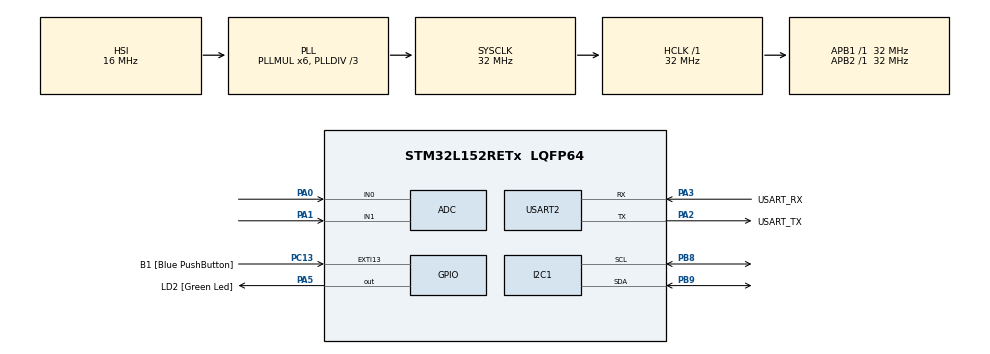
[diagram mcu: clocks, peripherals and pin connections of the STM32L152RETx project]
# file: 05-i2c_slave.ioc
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ADC.Channel-0\#ChannelRegularConversion=ADC_CHANNEL_0
ADC.NbrOfConversionFlag=1
ADC.Rank-0\#ChannelRegularConversion=1
ADC.SamplingTime-0\#ChannelRegularConversion=ADC_SAMPLETIME_4CYCLES
I2C1.OwnAddress=0x08
Mcu.Family=STM32L1
Mcu.Name=STM32L152RETx
Mcu.Package=LQFP64
NVIC.I2C1_ER_IRQn=true\:0\:0\:false\:false\:true\:true\:true\:true
NVIC.I2C1_EV_IRQn=true\:0\:0\:false\:false\:true\:true\:true\:true
NVIC.PriorityGroup=NVIC_PRIORITYGROUP_0
PA0-WKUP1.Mode=IN0
PA0-WKUP1.Signal=ADC_IN0
PA1.Mode=IN1
PA1.Signal=ADC_IN1
PA13.GPIO_Label=TMS
PA13.Mode=Serial_Wire
PA13.Signal=SYS_JTMS-SWDIO
PA14.GPIO_Label=TCK
PA14.Mode=Serial_Wire
PA14.Signal=SYS_JTCK-SWCLK
PA2.GPIO_Label=USART_TX
PA2.Mode=Asynchronous
PA2.Signal=USART2_TX
PA3.GPIO_Label=USART_RX
PA3.Mode=Asynchronous
PA3.Signal=USART2_RX
PA5.GPIO_Label=LD2 [Green Led]
PA5.Signal=GPIO_Output
PB3.GPIO_Label=SWO
PB3.Signal=SYS_JTDO-TRACESWO
PB8.Mode=I2C
PB8.Signal=I2C1_SCL
PB9.Mode=I2C
PB9.Signal=I2C1_SDA
PC13-WKUP2.GPIO_Label=B1 [Blue PushButton]
PC13-WKUP2.Signal=GPXTI13
PC14-OSC32_IN.Mode=LSE-External-Oscillator
PC14-OSC32_IN.Signal=RCC_OSC32_IN
PC15-OSC32_OUT.Mode=LSE-External-Oscillator
PC15-OSC32_OUT.Signal=RCC_OSC32_OUT
PH0-OSC_IN.Mode=HSE-External-Clock-Source
PH0-OSC_IN.Signal=RCC_OSC_IN
PH1-OSC_OUT.Signal=RCC_OSC_OUT
ProjectManager.HeapSize=0x200
ProjectManager.StackSize=0x400
ProjectManager.TargetToolchain=STM32CubeIDE
RCC.48MHZClocksFreq_Value=48000000
RCC.AHBFreq_Value=32000000
RCC.APB1Freq_Value=32000000
RCC.APB1TimFreq_Value=32000000
RCC.APB2Freq_Value=32000000
RCC.APB2TimFreq_Value=32000000
RCC.HCLKFreq_Value=32000000
RCC.HSE_VALUE=8000000
RCC.HSI_VALUE=16000000
RCC.MSI_VALUE=2097000
RCC.PLLDIV=RCC_PLL_DIV3
RCC.PLLMUL=RCC_PLL_MUL6
RCC.RTCClockSelectionVirtual=RCC_RTCCLKSOURCE_LSE
RCC.SYSCLKFreq_VALUE=32000000
RCC.SYSCLKSource=RCC_SYSCLKSOURCE_PLLCLK
RCC.USBOutput=48000000
RCC.VCOOutputFreq_Value=96000000
USART2.VirtualMode=VM_ASYNC
board=NUCLEO-L152RE

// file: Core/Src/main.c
/* USER CODE BEGIN Header */
/**
  ******************************************************************************
  * @file           : main.c
  * @brief          : Main program body
  ******************************************************************************
  * @attention
  *
  * Copyright (c) 2025 STMicroelectronics.
  * All rights reserved.
  *
  * This software is licensed under terms that can be found in the LICENSE file
  * in the root directory of this software component.
  * If no LICENSE file comes with this software, it is provided AS-IS.
  *
  ******************************************************************************
  */
/* USER CODE END Header */
#include "main.h"

/* USER CODE BEGIN PTD */
typedef struct
{
	uint8_t cmd;
	uint8_t result;
	uint16_t pot;
	uint16_t photo_r;

} analog_data_t;
/* USER CODE END PTD */

/* USER CODE BEGIN PD */
#define RESPONSE_SIZE sizeof(analog_data_t)
#define RxSIZE 6
/* USER CODE END PD */

ADC_HandleTypeDef hadc;

I2C_HandleTypeDef hi2c1;

UART_HandleTypeDef huart2;

/* USER CODE BEGIN PV */

uint8_t rxBuffer[RxSIZE];
uint8_t txBuffer[RxSIZE];
int count = 0;

uint8_t cmd = 0;
analog_data_t response;

/* USER CODE END PV */

void SystemClock_Config(void);
static void MX_GPIO_Init(void);
static void MX_USART2_UART_Init(void);
static void MX_I2C1_Init(void);
static void MX_ADC_Init(void);

/* USER CODE BEGIN 0 */

void HAL_I2C_ListenCpltCallback(I2C_HandleTypeDef *hi2c)
{
	HAL_I2C_EnableListen_IT(hi2c);
}

void HAL_I2C_AddrCallback(I2C_HandleTypeDef *hi2c, uint8_t TransferDirection, uint16_t AddrMatchCode)
{
	if(TransferDirection == I2C_DIRECTION_TRANSMIT)
	{
		HAL_I2C_Slave_Seq_Receive_IT(hi2c, &cmd, 1, I2C_FIRST_AND_LAST_FRAME);
	}
	else
	{
		HAL_I2C_Slave_Seq_Transmit_IT(hi2c, (uint8_t*)(&response), sizeof(response), I2C_FIRST_AND_LAST_FRAME);
	}
}

void HAL_I2C_SlaveRxCpltCallback(I2C_HandleTypeDef *hi2c)
{
	if(cmd == 01U)
	{
		response.result = 1;
	}
	else if(cmd == 02U)
	{
		response.result = 1;
		HAL_GPIO_WritePin(GPIOA, GPIO_PIN_5, GPIO_PIN_SET);
	}
	else if(cmd == 03U)
	{
		response.result = 1;
		HAL_GPIO_WritePin(GPIOA, GPIO_PIN_5, GPIO_PIN_RESET);
	}
}

void HAL_I2C_SlaveTxCpltCallback(I2C_HandleTypeDef *hi2c)
{

}

void HAL_I2C_ErrorCallback(I2C_HandleTypeDef *hi2c)
{
	HAL_I2C_EnableListen_IT(hi2c);
};

/* USER CODE END 0 */

int main(void)
{

  /* MCU Configuration--------------------------------------------------------*/

  /* Reset of all peripherals, Initializes the Flash interface and the Systick. */
  HAL_Init();

  /* Configure the system clock */
  SystemClock_Config();

  /* Initialize all configured peripherals */
  MX_GPIO_Init();
  MX_USART2_UART_Init();
  MX_I2C1_Init();
  MX_ADC_Init();

  /* Infinite loop */
  /* USER CODE BEGIN WHILE */

  if(HAL_I2C_EnableListen_IT(&hi2c1) != HAL_OK)
  {
	  Error_Handler();
  }

  while (1)
  {
    /* USER CODE END WHILE */

  }
}

void SystemClock_Config(void)
{
  RCC_OscInitTypeDef RCC_OscInitStruct = {0};
  RCC_ClkInitTypeDef RCC_ClkInitStruct = {0};

  /** Configure the main internal regulator output voltage
  */
  __HAL_PWR_VOLTAGESCALING_CONFIG(PWR_REGULATOR_VOLTAGE_SCALE1);

  /** Initializes the RCC Oscillators according to the specified parameters
  * in the RCC_OscInitTypeDef structure.
  */
  RCC_OscInitStruct.OscillatorType = RCC_OSCILLATORTYPE_HSI;
  RCC_OscInitStruct.HSIState = RCC_HSI_ON;
  RCC_OscInitStruct.HSICalibrationValue = RCC_HSICALIBRATION_DEFAULT;
  RCC_OscInitStruct.PLL.PLLState = RCC_PLL_ON;
  RCC_OscInitStruct.PLL.PLLSource = RCC_PLLSOURCE_HSI;
  RCC_OscInitStruct.PLL.PLLMUL = RCC_PLL_MUL6;
  RCC_OscInitStruct.PLL.PLLDIV = RCC_PLL_DIV3;
  if (HAL_RCC_OscConfig(&RCC_OscInitStruct) != HAL_OK)
  {
    Error_Handler();
  }

  /** Initializes the CPU, AHB and APB buses clocks
  */
  RCC_ClkInitStruct.ClockType = RCC_CLOCKTYPE_HCLK|RCC_CLOCKTYPE_SYSCLK
                              |RCC_CLOCKTYPE_PCLK1|RCC_CLOCKTYPE_PCLK2;
  RCC_ClkInitStruct.SYSCLKSource = RCC_SYSCLKSOURCE_PLLCLK;
  RCC_ClkInitStruct.AHBCLKDivider = RCC_SYSCLK_DIV1;
  RCC_ClkInitStruct.APB1CLKDivider = RCC_HCLK_DIV1;
  RCC_ClkInitStruct.APB2CLKDivider = RCC_HCLK_DIV1;

  if (HAL_RCC_ClockConfig(&RCC_ClkInitStruct, FLASH_LATENCY_1) != HAL_OK)
  {
    Error_Handler();
  }
}

static void MX_ADC_Init(void)
{

  ADC_ChannelConfTypeDef sConfig = {0};

  /** Configure the global features of the ADC (Clock, Resolution, Data Alignment and number of conversion)
  */
  hadc.Instance = ADC1;
  hadc.Init.ClockPrescaler = ADC_CLOCK_ASYNC_DIV1;
  hadc.Init.Resolution = ADC_RESOLUTION_12B;
  hadc.Init.DataAlign = ADC_DATAALIGN_RIGHT;
  hadc.Init.ScanConvMode = ADC_SCAN_DISABLE;
  hadc.Init.EOCSelection = ADC_EOC_SEQ_CONV;
  hadc.Init.LowPowerAutoWait = ADC_AUTOWAIT_DISABLE;
  hadc.Init.LowPowerAutoPowerOff = ADC_AUTOPOWEROFF_DISABLE;
  hadc.Init.ChannelsBank = ADC_CHANNELS_BANK_A;
  hadc.Init.ContinuousConvMode = DISABLE;
  hadc.Init.NbrOfConversion = 1;
  hadc.Init.DiscontinuousConvMode = DISABLE;
  hadc.Init.ExternalTrigConv = ADC_SOFTWARE_START;
  hadc.Init.ExternalTrigConvEdge = ADC_EXTERNALTRIGCONVEDGE_NONE;
  hadc.Init.DMAContinuousRequests = DISABLE;
  if (HAL_ADC_Init(&hadc) != HAL_OK)
  {
    Error_Handler();
  }

  /** Configure for the selected ADC regular channel its corresponding rank in the sequencer and its sample time.
  */
  sConfig.Channel = ADC_CHANNEL_0;
  sConfig.Rank = ADC_REGULAR_RANK_1;
  sConfig.SamplingTime = ADC_SAMPLETIME_4CYCLES;
  if (HAL_ADC_ConfigChannel(&hadc, &sConfig) != HAL_OK)
  {
    Error_Handler();
  }

}

static void MX_I2C1_Init(void)
{

  hi2c1.Instance = I2C1;
  hi2c1.Init.ClockSpeed = 100000;
  hi2c1.Init.DutyCycle = I2C_DUTYCYCLE_2;
  hi2c1.Init.OwnAddress1 = 16;
  hi2c1.Init.AddressingMode = I2C_ADDRESSINGMODE_7BIT;
  hi2c1.Init.DualAddressMode = I2C_DUALADDRESS_DISABLE;
  hi2c1.Init.OwnAddress2 = 0;
  hi2c1.Init.GeneralCallMode = I2C_GENERALCALL_DISABLE;
  hi2c1.Init.NoStretchMode = I2C_NOSTRETCH_DISABLE;
  if (HAL_I2C_Init(&hi2c1) != HAL_OK)
  {
    Error_Handler();
  }

}

static void MX_USART2_UART_Init(void)
{

  huart2.Instance = USART2;
  huart2.Init.BaudRate = 115200;
  huart2.Init.WordLength = UART_WORDLENGTH_8B;
  huart2.Init.StopBits = UART_STOPBITS_1;
  huart2.Init.Parity = UART_PARITY_NONE;
  huart2.Init.Mode = UART_MODE_TX_RX;
  huart2.Init.HwFlowCtl = UART_HWCONTROL_NONE;
  huart2.Init.OverSampling = UART_OVERSAMPLING_16;
  if (HAL_UART_Init(&huart2) != HAL_OK)
  {
    Error_Handler();
  }

}

static void MX_GPIO_Init(void)
{
  GPIO_InitTypeDef GPIO_InitStruct = {0};

  /* GPIO Ports Clock Enable */
  __HAL_RCC_GPIOC_CLK_ENABLE();
  __HAL_RCC_GPIOH_CLK_ENABLE();
  __HAL_RCC_GPIOA_CLK_ENABLE();
  __HAL_RCC_GPIOB_CLK_ENABLE();

  /*Configure GPIO pin Output Level */
  HAL_GPIO_WritePin(LD2_GPIO_Port, LD2_Pin, GPIO_PIN_RESET);

  /*Configure GPIO pin : B1_Pin */
  GPIO_InitStruct.Pin = B1_Pin;
  GPIO_InitStruct.Mode = GPIO_MODE_IT_RISING;
  GPIO_InitStruct.Pull = GPIO_NOPULL;
  HAL_GPIO_Init(B1_GPIO_Port, &GPIO_InitStruct);

  /*Configure GPIO pin : LD2_Pin */
  GPIO_InitStruct.Pin = LD2_Pin;
  GPIO_InitStruct.Mode = GPIO_MODE_OUTPUT_PP;
  GPIO_InitStruct.Pull = GPIO_NOPULL;
  GPIO_InitStruct.Speed = GPIO_SPEED_FREQ_LOW;
  HAL_GPIO_Init(LD2_GPIO_Port, &GPIO_InitStruct);

}

void Error_Handler(void)
{
  __disable_irq();
  while (1)
  {
  }
}
